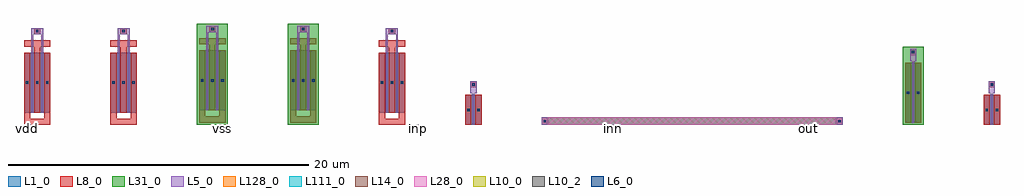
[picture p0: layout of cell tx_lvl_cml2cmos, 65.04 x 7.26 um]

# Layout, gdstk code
import gdstk
lib = gdstk.Library(unit=1e-6, precision=1e-09)
def R(c, l, rs):  # rectangles x0, y0, x1, y1
    for r in rs: c.add(gdstk.rectangle(r[:2], r[2:], *l))
def A(c, l, x, y, w, h, nx, ny, dx, dy):  # array of equal rectangles
    R(c, l, [(x+i*dx, y+j*dy, x+i*dx+w, y+j*dy+h) for i in range(nx) for j in range(ny)])
L1_0 = (1, 0)
L5_0 = (5, 0)
L6_0 = (6, 0)
L8_0 = (8, 0)
L10_0 = (10, 0)
L10_2 = (10, 2)
L14_0 = (14, 0)
L28_0 = (28, 0)
L31_0 = (31, 0)
L111_0 = (111, 0)
L128_0 = (128, 0)

tx_lvl_cml2cmos_xmn1__co = lib.new_cell('tx_lvl_cml2cmos_XMN1__core')
R(tx_lvl_cml2cmos_xmn1__co, L1_0, [(0,0.82,1.76,4.82)])
R(tx_lvl_cml2cmos_xmn1__co, L5_0, [(0.48,0.82,0.61,6.04), (1.15,0.82,1.28,6.04), (0.48,6.04,1.28,6.46)])
A(tx_lvl_cml2cmos_xmn1__co, L6_0, 0.13, 2.74, 0.16, 0.16, 3, 1, 0.67, 0)
R(tx_lvl_cml2cmos_xmn1__co, L6_0, [(0.8,6.17,0.96,6.33)])
A(tx_lvl_cml2cmos_xmn1__co, L8_0, 0, 0.82, 0.42, 4, 3, 1, 0.67, 0)
R(tx_lvl_cml2cmos_xmn1__co, L8_0, [(0,0,1.76,0.42), (0,0.42,0.42,0.82), (1.34,0.42,1.76,0.82), (0.67,4.82,1.09,5.22), (0,5.22,1.76,5.64), (0.67,6.04,1.09,6.46)])

tx_lvl_cml2cmos_xmn1 = lib.new_cell('tx_lvl_cml2cmos_XMN1')
tx_lvl_cml2cmos_xmn1.add(gdstk.Reference(tx_lvl_cml2cmos_xmn1__co, (0,0)))

tx_lvl_cml2cmos_xmn2__co = lib.new_cell('tx_lvl_cml2cmos_XMN2__core')
R(tx_lvl_cml2cmos_xmn2__co, L1_0, [(0,0.82,1.76,4.82)])
R(tx_lvl_cml2cmos_xmn2__co, L5_0, [(0.48,0.82,0.61,6.04), (1.15,0.82,1.28,6.04), (0.48,6.04,1.28,6.46)])
A(tx_lvl_cml2cmos_xmn2__co, L6_0, 0.13, 2.74, 0.16, 0.16, 3, 1, 0.67, 0)
R(tx_lvl_cml2cmos_xmn2__co, L6_0, [(0.8,6.17,0.96,6.33)])
A(tx_lvl_cml2cmos_xmn2__co, L8_0, 0, 0.82, 0.42, 4, 3, 1, 0.67, 0)
R(tx_lvl_cml2cmos_xmn2__co, L8_0, [(0,0,1.76,0.42), (0,0.42,0.42,0.82), (1.34,0.42,1.76,0.82), (0.67,4.82,1.09,5.22), (0,5.22,1.76,5.64), (0.67,6.04,1.09,6.46)])

tx_lvl_cml2cmos_xmn2 = lib.new_cell('tx_lvl_cml2cmos_XMN2')
tx_lvl_cml2cmos_xmn2.add(gdstk.Reference(tx_lvl_cml2cmos_xmn2__co, (0,0)))

tx_lvl_cml2cmos_xmp1__co = lib.new_cell('tx_lvl_cml2cmos_XMP1__core')
R(tx_lvl_cml2cmos_xmp1__co, L1_0, [(0,0.82,1.76,4.82)])
R(tx_lvl_cml2cmos_xmp1__co, L5_0, [(0.48,0.82,0.61,6.04), (1.15,0.82,1.28,6.04), (0.48,6.04,1.28,6.46)])
A(tx_lvl_cml2cmos_xmp1__co, L6_0, 0.13, 2.74, 0.16, 0.16, 3, 1, 0.67, 0)
R(tx_lvl_cml2cmos_xmp1__co, L6_0, [(0.8,6.17,0.96,6.33)])
A(tx_lvl_cml2cmos_xmp1__co, L8_0, 0, 0.82, 0.42, 4, 3, 1, 0.67, 0)
R(tx_lvl_cml2cmos_xmp1__co, L8_0, [(0,0,1.76,0.42), (0,0.42,0.42,0.82), (1.34,0.42,1.76,0.82), (0.67,4.82,1.09,5.22), (0,5.22,1.76,5.64), (0.67,6.04,1.09,6.46)])
R(tx_lvl_cml2cmos_xmp1__co, L31_0, [(-0.15,-0.15,1.91,6.61)])

tx_lvl_cml2cmos_xmp1 = lib.new_cell('tx_lvl_cml2cmos_XMP1')
tx_lvl_cml2cmos_xmp1.add(gdstk.Reference(tx_lvl_cml2cmos_xmp1__co, (0,0)))

tx_lvl_cml2cmos_xmp2__co = lib.new_cell('tx_lvl_cml2cmos_XMP2__core')
R(tx_lvl_cml2cmos_xmp2__co, L1_0, [(0,0.82,1.76,4.82)])
R(tx_lvl_cml2cmos_xmp2__co, L5_0, [(0.48,0.82,0.61,6.04), (1.15,0.82,1.28,6.04), (0.48,6.04,1.28,6.46)])
A(tx_lvl_cml2cmos_xmp2__co, L6_0, 0.13, 2.74, 0.16, 0.16, 3, 1, 0.67, 0)
R(tx_lvl_cml2cmos_xmp2__co, L6_0, [(0.8,6.17,0.96,6.33)])
A(tx_lvl_cml2cmos_xmp2__co, L8_0, 0, 0.82, 0.42, 4, 3, 1, 0.67, 0)
R(tx_lvl_cml2cmos_xmp2__co, L8_0, [(0,0,1.76,0.42), (0,0.42,0.42,0.82), (1.34,0.42,1.76,0.82), (0.67,4.82,1.09,5.22), (0,5.22,1.76,5.64), (0.67,6.04,1.09,6.46)])
R(tx_lvl_cml2cmos_xmp2__co, L31_0, [(-0.15,-0.15,1.91,6.61)])

tx_lvl_cml2cmos_xmp2 = lib.new_cell('tx_lvl_cml2cmos_XMP2')
tx_lvl_cml2cmos_xmp2.add(gdstk.Reference(tx_lvl_cml2cmos_xmp2__co, (0,0)))

tx_lvl_cml2cmos_xmnt__co = lib.new_cell('tx_lvl_cml2cmos_XMNt__core')
R(tx_lvl_cml2cmos_xmnt__co, L1_0, [(0,0.82,1.76,4.82)])
R(tx_lvl_cml2cmos_xmnt__co, L5_0, [(0.48,0.82,0.61,6.04), (1.15,0.82,1.28,6.04), (0.48,6.04,1.28,6.46)])
A(tx_lvl_cml2cmos_xmnt__co, L6_0, 0.13, 2.74, 0.16, 0.16, 3, 1, 0.67, 0)
R(tx_lvl_cml2cmos_xmnt__co, L6_0, [(0.8,6.17,0.96,6.33)])
A(tx_lvl_cml2cmos_xmnt__co, L8_0, 0, 0.82, 0.42, 4, 3, 1, 0.67, 0)
R(tx_lvl_cml2cmos_xmnt__co, L8_0, [(0,0,1.76,0.42), (0,0.42,0.42,0.82), (1.34,0.42,1.76,0.82), (0.67,4.82,1.09,5.22), (0,5.22,1.76,5.64), (0.67,6.04,1.09,6.46)])

tx_lvl_cml2cmos_xmnt = lib.new_cell('tx_lvl_cml2cmos_XMNt')
tx_lvl_cml2cmos_xmnt.add(gdstk.Reference(tx_lvl_cml2cmos_xmnt__co, (0,0)))

tx_lvl_cml2cmos_xmnb__co = lib.new_cell('tx_lvl_cml2cmos_XMNb__core')
R(tx_lvl_cml2cmos_xmnb__co, L1_0, [(0,0,1.09,2)])
R(tx_lvl_cml2cmos_xmnb__co, L5_0, [(0.48,0,0.61,2), (0.48,2,0.61,2.1), (0.335,2.1,0.755,2.92)])
R(tx_lvl_cml2cmos_xmnb__co, L6_0, [(0.13,0.92,0.29,1.08), (0.8,0.92,0.96,1.08), (0.465,2.63,0.625,2.79)])
R(tx_lvl_cml2cmos_xmnb__co, L8_0, [(0,0,0.42,2), (0.67,0,1.09,2), (0.335,2.5,0.755,2.92)])

tx_lvl_cml2cmos_xmnb = lib.new_cell('tx_lvl_cml2cmos_XMNb')
tx_lvl_cml2cmos_xmnb.add(gdstk.Reference(tx_lvl_cml2cmos_xmnb__co, (0,0)))

tx_lvl_cml2cmos_xrbm__co = lib.new_cell('tx_lvl_cml2cmos_XRbm__core')
R(tx_lvl_cml2cmos_xrbm__co, L5_0, [(0,0,0.42,0.5), (19.65,0,20.07,0.5)])
R(tx_lvl_cml2cmos_xrbm__co, L6_0, [(0.13,0.17,0.29,0.33), (19.78,0.17,19.94,0.33)])
R(tx_lvl_cml2cmos_xrbm__co, L8_0, [(0,0,0.42,0.5), (19.65,0,20.07,0.5)])
R(tx_lvl_cml2cmos_xrbm__co, L14_0, [(0.42,0,19.65,0.5)])
R(tx_lvl_cml2cmos_xrbm__co, L28_0, [(0.42,0,19.65,0.5)])
R(tx_lvl_cml2cmos_xrbm__co, L111_0, [(0.42,0,19.65,0.5)])
R(tx_lvl_cml2cmos_xrbm__co, L128_0, [(0.42,0,19.65,0.5)])

tx_lvl_cml2cmos_xrbm = lib.new_cell('tx_lvl_cml2cmos_XRbm')
tx_lvl_cml2cmos_xrbm.add(gdstk.Reference(tx_lvl_cml2cmos_xrbm__co, (0,0)))

tx_lvl_cml2cmos_xmp3__co = lib.new_cell('tx_lvl_cml2cmos_XMP3__core')
R(tx_lvl_cml2cmos_xmp3__co, L1_0, [(0,0,1.09,4)])
R(tx_lvl_cml2cmos_xmp3__co, L5_0, [(0.48,0,0.61,4), (0.48,4,0.61,4.1), (0.335,4.1,0.755,4.92)])
R(tx_lvl_cml2cmos_xmp3__co, L6_0, [(0.13,1.92,0.29,2.08), (0.8,1.92,0.96,2.08), (0.465,4.63,0.625,4.79)])
R(tx_lvl_cml2cmos_xmp3__co, L8_0, [(0,0,0.42,4), (0.67,0,1.09,4), (0.335,4.5,0.755,4.92)])
R(tx_lvl_cml2cmos_xmp3__co, L31_0, [(-0.15,-0.15,1.24,5.07)])

tx_lvl_cml2cmos_xmp3 = lib.new_cell('tx_lvl_cml2cmos_XMP3')
tx_lvl_cml2cmos_xmp3.add(gdstk.Reference(tx_lvl_cml2cmos_xmp3__co, (0,0)))

tx_lvl_cml2cmos_xmn3__co = lib.new_cell('tx_lvl_cml2cmos_XMN3__core')
R(tx_lvl_cml2cmos_xmn3__co, L1_0, [(0,0,1.09,2)])
R(tx_lvl_cml2cmos_xmn3__co, L5_0, [(0.48,0,0.61,2), (0.48,2,0.61,2.1), (0.335,2.1,0.755,2.92)])
R(tx_lvl_cml2cmos_xmn3__co, L6_0, [(0.13,0.92,0.29,1.08), (0.8,0.92,0.96,1.08), (0.465,2.63,0.625,2.79)])
R(tx_lvl_cml2cmos_xmn3__co, L8_0, [(0,0,0.42,2), (0.67,0,1.09,2), (0.335,2.5,0.755,2.92)])

tx_lvl_cml2cmos_xmn3 = lib.new_cell('tx_lvl_cml2cmos_XMN3')
tx_lvl_cml2cmos_xmn3.add(gdstk.Reference(tx_lvl_cml2cmos_xmn3__co, (0,0)))

tx_lvl_cml2cmos = lib.new_cell('tx_lvl_cml2cmos')
A(tx_lvl_cml2cmos, L10_0, 0, -0.5, 0.5, 0.5, 5, 1, 13.008, 0)
A(tx_lvl_cml2cmos, L10_2, 0, -0.5, 0.5, 0.5, 5, 1, 13.008, 0)
tx_lvl_cml2cmos.add(gdstk.Reference(tx_lvl_cml2cmos_xmn1, (0,0)))
tx_lvl_cml2cmos.add(gdstk.Reference(tx_lvl_cml2cmos_xmn2, (5.76,0)))
tx_lvl_cml2cmos.add(gdstk.Reference(tx_lvl_cml2cmos_xmp1, (11.67,0.15)))
tx_lvl_cml2cmos.add(gdstk.Reference(tx_lvl_cml2cmos_xmp2, (17.73,0.15)))
tx_lvl_cml2cmos.add(gdstk.Reference(tx_lvl_cml2cmos_xmnt, (23.64,0)))
tx_lvl_cml2cmos.add(gdstk.Reference(tx_lvl_cml2cmos_xmnb, (29.4,0)))
tx_lvl_cml2cmos.add(gdstk.Reference(tx_lvl_cml2cmos_xrbm, (34.49,0)))
tx_lvl_cml2cmos.add(gdstk.Reference(tx_lvl_cml2cmos_xmp3, (58.71,0.15)))
tx_lvl_cml2cmos.add(gdstk.Reference(tx_lvl_cml2cmos_xmn3, (63.95,0)))
tx_lvl_cml2cmos.add(gdstk.Label('vdd', (0.25,-0.25), layer=10, texttype=25))
tx_lvl_cml2cmos.add(gdstk.Label('vss', (13.258,-0.25), layer=10, texttype=25))
tx_lvl_cml2cmos.add(gdstk.Label('inp', (26.266,-0.25), layer=10, texttype=25))
tx_lvl_cml2cmos.add(gdstk.Label('inn', (39.274,-0.25), layer=10, texttype=25))
tx_lvl_cml2cmos.add(gdstk.Label('out', (52.282,-0.25), layer=10, texttype=25))

lib.write_gds('tx_lvl_cml2cmos.gds')
